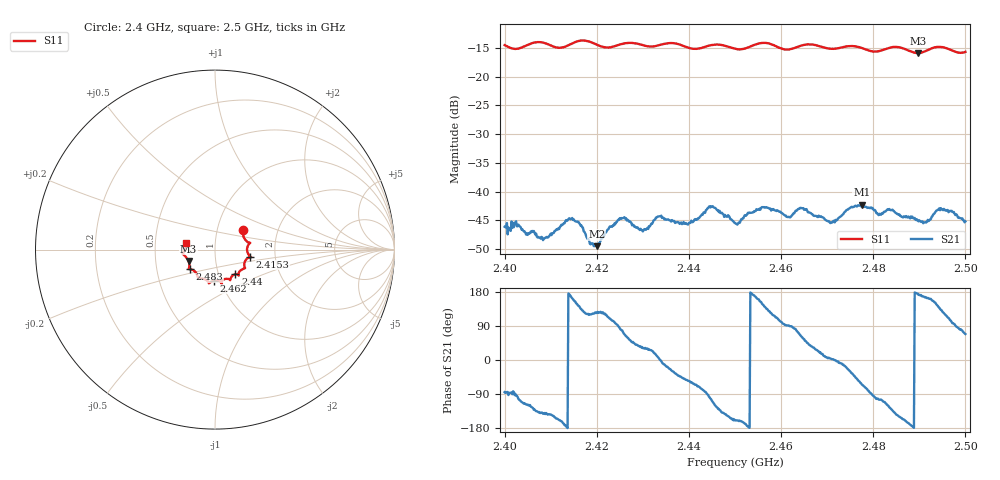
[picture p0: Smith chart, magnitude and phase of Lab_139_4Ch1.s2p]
# Hz S RI R 50
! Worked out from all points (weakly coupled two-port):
!   601 points, 2.4 GHz to 2.5 GHz, reference 50 ohm
!   highest |S21| = -42.26 dB at 2.4775 GHz (marker M1); lowest = -49.5 dB at 2.42 GHz (marker M2)
!   lowest |S11| = -15.9 dB at 2.4897 GHz (marker M3), VSWR 1.38, Z = 36.9 - j4.81 ohm
!   |S11| at or under -10 dB: start of sweep to end of sweep
!   S12 and S22 are empty: the file has one direction only
!   S11 on the Smith chart (normalised r, x): 2.4 GHz: 1.33, +0.29; 2.4153 GHz: 1.48, -0.12; 2.44 GHz: 1.20, -0.34; 2.462 GHz: 0.93, -0.33; 2.483 GHz: 0.74, -0.17; 2.5 GHz: 0.72, +0.06
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2.4e9  0.1552 0.1065  0.000442 -0.00494  0 0  0 0
2.408833e9  0.1925 0.0346  -0.00316 -0.00241  0 0  0 0
2.415333e9  0.1964 -0.0385  -0.00498 0.00242  0 0  0 0
2.416667e9  0.2019 -0.0427  -0.00352 0.00368  0 0  0 0
2.42e9  0.1846 -0.0459  -0.00189 0.00278  0 0  0 0
2.425e9  0.1648 -0.0956  0.000608 0.00586  0 0  0 0
2.430167e9  0.1514 -0.1105  0.00395 0.00241  0 0  0 0
2.433333e9  0.1311 -0.1334  0.00604 0.000707  0 0  0 0
2.44e9  0.114 -0.1367  0.00307 -0.0044  0 0  0 0
2.444833e9  0.0848 -0.168  -0.00177 -0.00725  0 0  0 0
2.45e9  0.0647 -0.1626  -0.00501 -0.00189  0 0  0 0
2.456333e9  0.0387 -0.1931  -0.00578 0.00455  0 0  0 0
2.462e9  -0.00513 -0.1733  0.0001 0.00599  0 0  0 0
2.464333e9  -0.0293 -0.1839  0.00329 0.00644  0 0  0 0
2.466667e9  -0.0342 -0.1876  0.00518 0.00373  0 0  0 0
2.471167e9  -0.0604 -0.1644  0.00541 0.000185  0 0  0 0
2.4775e9  -0.0971 -0.1491  0.00333 -0.00695  0 0  0 0
2.483e9  -0.1376 -0.1096  -0.00333 -0.0061  0 0  0 0
2.483333e9  -0.1401 -0.1094  -0.0037 -0.00593  0 0  0 0
2.489667e9  -0.1474 -0.0635  -0.00556 0.00048  0 0  0 0
2.494833e9  -0.1799 -0.0202  -0.00464 0.00529  0 0  0 0
2.5e9  -0.1598 0.0392  0.00202 0.00513  0 0  0 0
